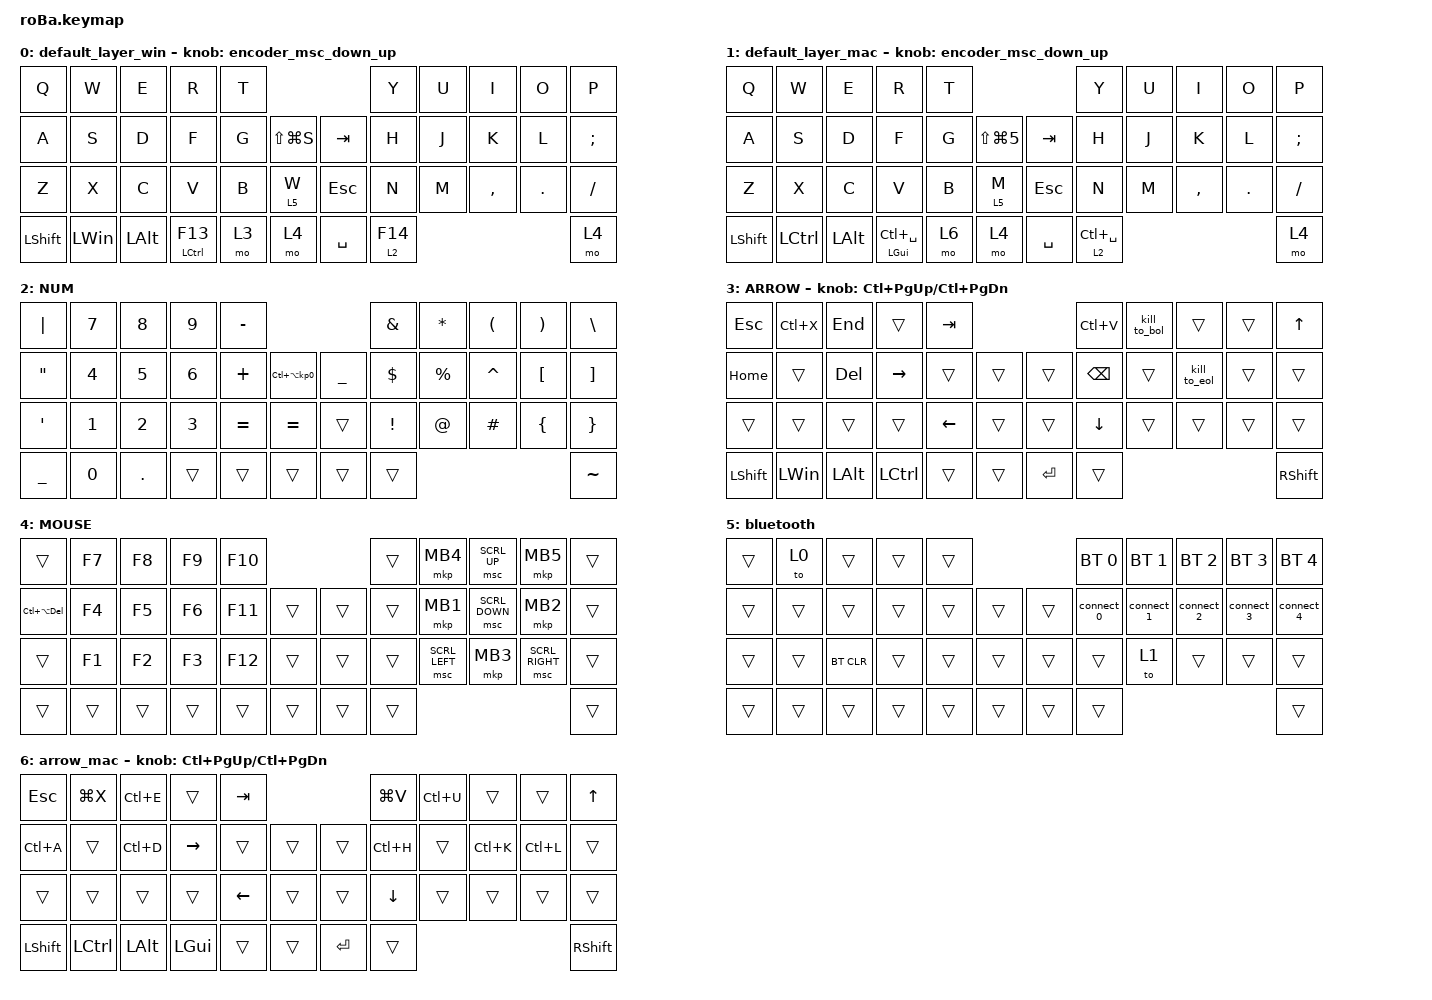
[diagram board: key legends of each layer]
#include <behaviors.dtsi>
#include <dt-bindings/zmk/bt.h>
#include <dt-bindings/zmk/keys.h>
#include <dt-bindings/zmk/pointing.h>

#define ZMK_POINTING_DEFAULT_SCRL_VAL 80

&mt {
    flavor = "balanced";
    quick-tap-ms = <0>;
};

&trackball {
    // automouse-layer = <4>;

    scroll-layers = <3 6>;

    // arrows {
    //     layers = <3>;
    //     bindings =
    //         <&kp RIGHT_ARROW>,
    //         <&kp LEFT_ARROW>,
    //         <&kp UP_ARROW>,
    //         <&kp DOWN_ARROW>;
    //     tick = <10>;
    //     wait-ms = <5>;
    //     tap-ms = <5>;
    // };
};

/ {
    combos { compatible = "zmk,combos"; };

    macros {
        to_layer_0: to_layer_0 {
            compatible = "zmk,behavior-macro-one-param";
            #binding-cells = <1>;
            bindings = <&to 0 &macro_param_1to1 &kp MACRO_PLACEHOLDER>;
            label = "TO_LAYER_0";
        };

        kill_to_bol: kill_to_bol {
            compatible = "zmk,behavior-macro";
            #binding-cells = <0>;
            bindings =
                <&macro_press>,
                <&kp LEFT_SHIFT>,
                <&macro_tap>,
                <&kp HOME>,
                <&macro_release>,
                <&kp LEFT_SHIFT>,
                <&macro_tap>,
                <&kp LC(X)>;

            label = "KILL_TO_BOL";
        };

        kill_to_eol: kill_to_eol {
            compatible = "zmk,behavior-macro";
            #binding-cells = <0>;
            bindings =
                <&macro_press>,
                <&kp LEFT_SHIFT>,
                <&macro_tap>,
                <&kp END>,
                <&macro_release>,
                <&kp LEFT_SHIFT>,
                <&macro_tap>,
                <&kp LC(X)>;

            label = "KILL_TO_EOL";
        };

        connect_0: connect_0 {
            compatible = "zmk,behavior-macro";
            #binding-cells = <0>;
            bindings = <&macro_tap>, <&bt BT_SEL 0>, <&macro_tap>, <&to 0>;

            label = "CONNECT_0";
        };

        connect_1: connect_1 {
            compatible = "zmk,behavior-macro";
            #binding-cells = <0>;
            bindings = <&macro_tap>, <&bt BT_SEL 1>, <&macro_tap>, <&to 0>;

            label = "CONNECT_1";
        };

        connect_2: connect_2 {
            compatible = "zmk,behavior-macro";
            #binding-cells = <0>;
            bindings = <&macro_tap>, <&bt BT_SEL 2>, <&macro_tap>, <&to 1>;

            label = "CONNECT_2";
        };

        connect_3: connect_3 {
            compatible = "zmk,behavior-macro";
            #binding-cells = <0>;
            bindings = <&macro_tap>, <&bt BT_SEL 3>, <&macro_tap>, <&to 1>;

            label = "CONNECT_3";
        };

        connect_4: connect_4 {
            compatible = "zmk,behavior-macro";
            #binding-cells = <0>;
            bindings = <&macro_tap>, <&bt BT_SEL 4>, <&macro_tap>, <&to 1>;

            label = "CONNECT_4";
        };
    };

    behaviors {
        lt_to_layer_0: lt_to_layer_0 {
            compatible = "zmk,behavior-hold-tap";
            label = "LAYER_TAP_TO_0";
            bindings = <&mo>, <&to_layer_0>;

            #binding-cells = <2>;
            tapping-term-ms = <200>;
        };

        encoder_msc_down_up: encoder_msc_down_up {
            compatible = "zmk,behavior-sensor-rotate";
            label = "ENCODER_MSC_DOWN_UP";
            #sensor-binding-cells = <0>;
            bindings = <&msc SCRL_DOWN>, <&msc SCRL_UP>;

            tap-ms = <20>;
        };
    };

    keymap {
        compatible = "zmk,keymap";

        default_layer_win {
            bindings = <
&kp Q           &kp W         &kp E         &kp R          &kp T                                 &kp Y      &kp U  &kp I      &kp O    &kp P
&kp A           &kp S         &kp D         &kp F          &kp G  &kp LS(LG(S))      &kp TAB     &kp H      &kp J  &kp K      &kp L    &kp SEMICOLON
&kp Z           &kp X         &kp C         &kp V          &kp B  &lt 5 W            &kp ESCAPE  &kp N      &kp M  &kp COMMA  &kp DOT  &kp SLASH
&kp LEFT_SHIFT  &kp LEFT_WIN  &kp LEFT_ALT  &mt LCTRL F13  &mo 3  &mo 4              &kp SPACE   &lt 2 F14                             &mo 4
            >;

            sensor-bindings = <&encoder_msc_down_up>;
        };

        default_layer_mac {
            bindings = <
&kp Q           &kp W      &kp E         &kp R                   &kp T                                        &kp Y            &kp U  &kp I      &kp O    &kp P
&kp A           &kp S      &kp D         &kp F                   &kp G  &kp LS(LG(NUMBER_5))      &kp TAB     &kp H            &kp J  &kp K      &kp L    &kp SEMICOLON
&kp Z           &kp X      &kp C         &kp V                   &kp B  &lt 5 M                   &kp ESCAPE  &kp N            &kp M  &kp COMMA  &kp DOT  &kp SLASH
&kp LEFT_SHIFT  &kp LCTRL  &kp LEFT_ALT  &mt LEFT_GUI LC(SPACE)  &mo 6  &mo 4                     &kp SPACE   &lt 2 LC(SPACE)                             &mo 4
            >;

            sensor-bindings = <&encoder_msc_down_up>;
        };

        NUM {
            bindings = <
&kp PIPE           &kp NUMBER_7  &kp NUMBER_8  &kp NUMBER_9  &kp MINUS                                               &kp AMPERSAND    &kp ASTERISK  &kp LEFT_PARENTHESIS  &kp RIGHT_PARENTHESIS  &kp BACKSLASH
&kp DOUBLE_QUOTES  &kp NUMBER_4  &kp NUMBER_5  &kp NUMBER_6  &kp PLUS   &kp LC(LA(KP_NUMBER_0))      &kp UNDERSCORE  &kp DOLLAR       &kp PERCENT   &kp CARET             &kp LEFT_BRACKET       &kp RIGHT_BRACKET
&kp SQT            &kp NUMBER_1  &kp NUMBER_2  &kp NUMBER_3  &kp EQUAL  &kp EQUAL                    &trans          &kp EXCLAMATION  &kp AT_SIGN   &kp HASH              &kp LEFT_BRACE         &kp RIGHT_BRACE
&kp UNDERSCORE     &kp NUMBER_0  &kp PERIOD    &trans        &trans     &trans                       &trans          &trans                                                                      &kp TILDE
            >;
        };

        ARROW {
            bindings = <
&kp ESCAPE      &kp LC(X)     &kp END       &trans           &kp TAB                                &kp LC(V)       &kill_to_bol  &trans        &trans  &kp UP_ARROW
&kp HOME        &trans        &kp DELETE    &kp RIGHT_ARROW  &trans          &trans      &trans     &kp BACKSPACE   &trans        &kill_to_eol  &trans  &trans
&trans          &trans        &trans        &trans           &kp LEFT_ARROW  &trans      &trans     &kp DOWN_ARROW  &trans        &trans        &trans  &trans
&kp LEFT_SHIFT  &kp LEFT_WIN  &kp LEFT_ALT  &kp LCTRL        &trans          &trans      &kp ENTER  &trans                                              &kp RIGHT_SHIFT
            >;

            sensor-bindings = <&inc_dec_kp LC(PAGE_UP) LC(PAGE_DOWN)>;
        };

        MOUSE {
            bindings = <
&trans              &kp F7  &kp F8  &kp F9  &kp F10                      &trans  &mkp MB4        &msc SCRL_UP    &mkp MB5         &trans
&kp LC(LA(DELETE))  &kp F4  &kp F5  &kp F6  &kp F11  &trans      &trans  &trans  &mkp MB1        &msc SCRL_DOWN  &mkp MB2         &trans
&trans              &kp F1  &kp F2  &kp F3  &kp F12  &trans      &trans  &trans  &msc SCRL_LEFT  &mkp MB3        &msc SCRL_RIGHT  &trans
&trans              &trans  &trans  &trans  &trans   &trans      &trans  &trans                                                   &trans
            >;
        };

        bluetooth {
            bindings = <
&trans  &to 0   &trans      &trans  &trans                      &bt BT_SEL 0  &bt BT_SEL 1  &bt BT_SEL 2  &bt BT_SEL 3  &bt BT_SEL 4
&trans  &trans  &trans      &trans  &trans  &trans      &trans  &connect_0    &connect_1    &connect_2    &connect_3    &connect_4
&trans  &trans  &bt BT_CLR  &trans  &trans  &trans      &trans  &trans        &to 1         &trans        &trans        &trans
&trans  &trans  &trans      &trans  &trans  &trans      &trans  &trans                                                  &trans
            >;
        };

        arrow_mac {
            bindings = <
&kp ESCAPE      &kp LG(X)  &kp LC(E)     &trans           &kp TAB                                &kp LG(V)       &kp LC(U)  &trans     &trans     &kp UP_ARROW
&kp LC(A)       &trans     &kp LC(D)     &kp RIGHT_ARROW  &trans          &trans      &trans     &kp LC(H)       &trans     &kp LC(K)  &kp LC(L)  &trans
&trans          &trans     &trans        &trans           &kp LEFT_ARROW  &trans      &trans     &kp DOWN_ARROW  &trans     &trans     &trans     &trans
&kp LEFT_SHIFT  &kp LCTRL  &kp LEFT_ALT  &kp LEFT_GUI     &trans          &trans      &kp ENTER  &trans                                           &kp RIGHT_SHIFT
            >;

            sensor-bindings = <&inc_dec_kp LC(PAGE_UP) LC(PAGE_DOWN)>;
        };
    };
};
